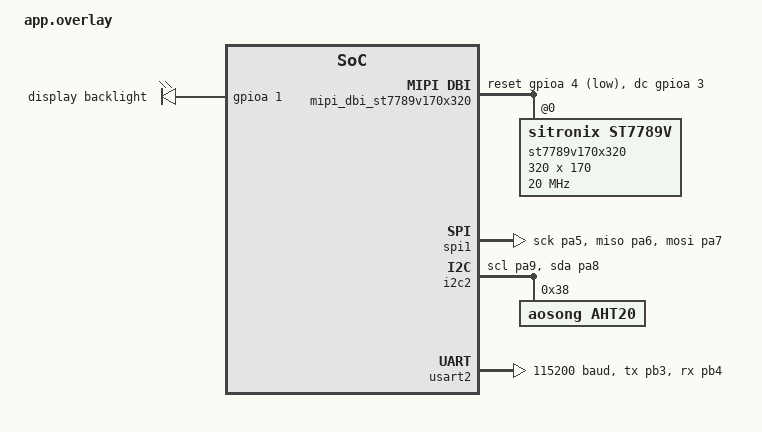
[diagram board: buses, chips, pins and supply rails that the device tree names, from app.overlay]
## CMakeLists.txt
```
cmake_minimum_required(VERSION 3.20.0)
find_package(Zephyr REQUIRED HINTS $ENV{ZEPHYR_BASE})
project(aht20-zephyr)

set(SCRS
    ${CMAKE_CURRENT_LIST_DIR}/src/monocraft.c
    ${CMAKE_CURRENT_LIST_DIR}/src/main.c
)

target_sources(app PRIVATE ${SCRS})
```

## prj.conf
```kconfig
CONFIG_LV_Z_MEM_POOL_SIZE=2048
CONFIG_MAIN_STACK_SIZE=2048

CONFIG_DISPLAY=y

CONFIG_LVGL=y
CONFIG_LV_CONF_MINIMAL=y
CONFIG_LV_USE_LABEL=y
CONFIG_LV_COLOR_16_SWAP=y

CONFIG_GPIO=y
CONFIG_SENSOR=y

# Need float format support
CONFIG_REQUIRES_FULL_LIBC=y
CONFIG_REQUIRES_FLOAT_PRINTF=y
CONFIG_CBPRINTF_FP_SUPPORT=y
```

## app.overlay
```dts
#include <zephyr/dt-bindings/mipi_dbi/mipi_dbi.h>

/ {
	chosen {
		zephyr,display = &st7789v170x320;
	};

    backlight_leds: backlight_leds {
        compatible = "gpio-leds";
        display_back_led: display_back_led_0 {
            gpios = <&gpioa 1 GPIO_ACTIVE_HIGH>;
            label = "display backlight";
        };
	};

    aliases {
		backlight0 = &display_back_led;
	};

	mipi_dbi_st7789v170x320 {
		compatible = "zephyr,mipi-dbi-spi";
		spi-dev = <&spi1>;
		dc-gpios = <&gpioa 3 GPIO_ACTIVE_HIGH>;
		reset-gpios = <&gpioa 4 GPIO_ACTIVE_LOW>;	
		write-only;
		#address-cells = <1>;
		#size-cells = <0>;

		st7789v170x320: st7789v@0 {
			compatible = "sitronix,st7789v";
			mipi-max-frequency = <20000000>;
			reg = <0>;
			width = <320>;
			height = <170>;
			x-offset = <0>;
			y-offset = <35>;
			vcom = <0x19>;
			gctrl = <0x35>;
			vrhs = <0x12>;
			vdvs = <0x20>;
			mdac = <0x60>;
			gamma = <0x01>;
			colmod = <0x05>;
			lcm = <0x2c>;
			porch-param = [0c 0c 00 33 33];
			cmd2en-param = [5a 69 02 01];
			pwctrl1-param = [a4 a1];
			pvgam-param = [D0 04 0D 11 13 2B 3F 54 4C 18 0D 0B 1F 23];
			nvgam-param = [D0 04 0C 11 13 2C 3F 44 51 2F 1F 1F 20 23];
			ram-param = [00 F0];
			rgb-param = [CD 08 14];
			mipi-mode = <MIPI_DBI_MODE_SPI_4WIRE>;
		};
	};
};

&spi1 {
    pinctrl-0 = <&spi1_sck_pa5 &spi1_miso_pa6 &spi1_mosi_pa7>;
    pinctrl-names = "default";
	status = "okay";
	cs-gpios = <&gpioa 2 (GPIO_ACTIVE_LOW | GPIO_PULL_UP)>;
};

&i2c2 {
	pinctrl-0 = <&i2c2_scl_pa9 &i2c2_sda_pa8>;
	pinctrl-names = "default";
	status = "okay";
    aht20:aht20@38{
		compatible = "aosong,aht20";
		status = "okay";
        reg = <0x38>;
	};
};

&usart2 {
	status = "okay";
	pinctrl-0 = <&usart2_tx_pb3 &usart2_rx_pb4>;
	pinctrl-names = "default";

	current-speed = <115200>;
};
```

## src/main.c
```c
/*
 * Copyright (c) 2018 Jan Van Winkel <jan.van_winkel@dxplore.eu>
 *
 * SPDX-License-Identifier: Apache-2.0
 */

#include <zephyr/device.h>
#include <zephyr/devicetree.h>
#include <zephyr/drivers/display.h>
#include <zephyr/drivers/gpio.h>
#include <lvgl.h>
#include <stdio.h>
#include <string.h>
#include <zephyr/kernel.h>
#include <zephyr/drivers/gpio.h>
#include <zephyr/drivers/uart.h>
#include <zephyr/drivers/sensor.h>

#define LOG_LEVEL CONFIG_LOG_DEFAULT_LEVEL
#include <zephyr/logging/log.h>
LOG_MODULE_REGISTER(app);

#define DISPLAY_LED_NODE DT_ALIAS(backlight0)
LV_FONT_DECLARE(monocraft);

static uint32_t count;
static uint8_t palette = LV_PALETTE_RED;

lv_obj_t *temp_label;
lv_obj_t *humi_label;

static const struct gpio_dt_spec display_led = GPIO_DT_SPEC_GET(DISPLAY_LED_NODE, gpios);

#define BUTTON0_NODE	DT_ALIAS(sw0)
#if !DT_NODE_HAS_STATUS(BUTTON0_NODE, okay)
#error "Unsupported board: sw0 devicetree alias is not defined"
#endif
static const struct gpio_dt_spec button = GPIO_DT_SPEC_GET_OR(BUTTON0_NODE, gpios, {0});
static struct gpio_callback button_cb_data;

void button_pressed(const struct device *dev, struct gpio_callback *cb,
		    uint32_t pins)
{
	if(palette<LV_PALETTE_GREY) {
		palette++;
	} else {
		palette = LV_PALETTE_RED;
	}
	lv_obj_set_style_text_color(temp_label, lv_palette_main(palette), 0);
	lv_obj_set_style_text_color(humi_label, lv_palette_main(palette), 0);
}

int main(void)
{
	if (!gpio_is_ready_dt(&display_led)) {
		return 0;
	}
	int ret = gpio_pin_configure_dt(&display_led, GPIO_OUTPUT_ACTIVE);
	if (ret < 0) {
		return 0;
	}
	ret = gpio_pin_set_dt(&display_led, 1);
		if (ret < 0) {
			return 0;
		}
	
	if (!gpio_is_ready_dt(&button)) {
		printk("Error: button device %s is not ready\n",
		       button.port->name);
		return 0;
	}

	ret = gpio_pin_configure_dt(&button, GPIO_INPUT);
	if (ret != 0) {
		printk("Error %d: failed to configure %s pin %d\n",
		       ret, button.port->name, button.pin);
		return 0;
	}

	ret = gpio_pin_interrupt_configure_dt(&button,
					      GPIO_INT_EDGE_TO_ACTIVE);
	if (ret != 0) {
		printk("Error %d: failed to configure interrupt on %s pin %d\n",
			ret, button.port->name, button.pin);
		return 0;
	}

	gpio_init_callback(&button_cb_data, button_pressed, BIT(button.pin));
	gpio_add_callback(button.port, &button_cb_data);

	char count_str[10] = {0};
	const struct device *display_dev;

	display_dev = DEVICE_DT_GET(DT_CHOSEN(zephyr_display));
	if (!device_is_ready(display_dev)) {
		LOG_ERR("Device not ready, aborting test");
		return 0;
	}

	temp_label = lv_label_create(lv_scr_act());
	lv_obj_align(temp_label, LV_ALIGN_TOP_MID, 0, 10);
	humi_label = lv_label_create(lv_scr_act());
	lv_obj_align(humi_label, LV_ALIGN_BOTTOM_MID, 0, -10);
	lv_obj_set_style_text_font(temp_label, &monocraft, 0);
	lv_obj_set_style_text_font(humi_label, &monocraft, 0);
	lv_obj_set_style_text_color(temp_label, lv_palette_main(palette), 0);
	lv_obj_set_style_text_color(humi_label, lv_palette_main(palette), 0);
	lv_disp_set_bg_color(NULL, lv_color_make(0x40,0x40,0x40));

	lv_task_handler();
	display_blanking_off(display_dev);

	const struct device *const aht30 = DEVICE_DT_GET_ONE(aosong_aht20);

	if (!device_is_ready(aht30)) {
		printf("Device %s is not ready\n", aht30->name);
		return 0;
	}

	while (1) {
		if ((count % 100) == 0U) {
			int rc = sensor_sample_fetch(aht30);

			if (rc != 0) {
				printf("Sensor fetch failed: %d\n", rc);
				break;
			}

			struct sensor_value temperature;
			struct sensor_value humidity;

			rc = sensor_channel_get(aht30, SENSOR_CHAN_AMBIENT_TEMP,
						&temperature);
			if (rc == 0) {
				rc = sensor_channel_get(aht30, SENSOR_CHAN_HUMIDITY,
							&humidity);
			}
			if (rc != 0) {
				printf("get failed: %d\n", rc);
				break;
			}
			sprintf(count_str, "%2.2f°C", sensor_value_to_double(&temperature));
			lv_label_set_text(temp_label, count_str);
			sprintf(count_str, "%2.2f%%", sensor_value_to_double(&humidity));
			lv_label_set_text(humi_label, count_str);
		}
		lv_task_handler();
		++count;
		k_sleep(K_MSEC(10));
	}
}
```
